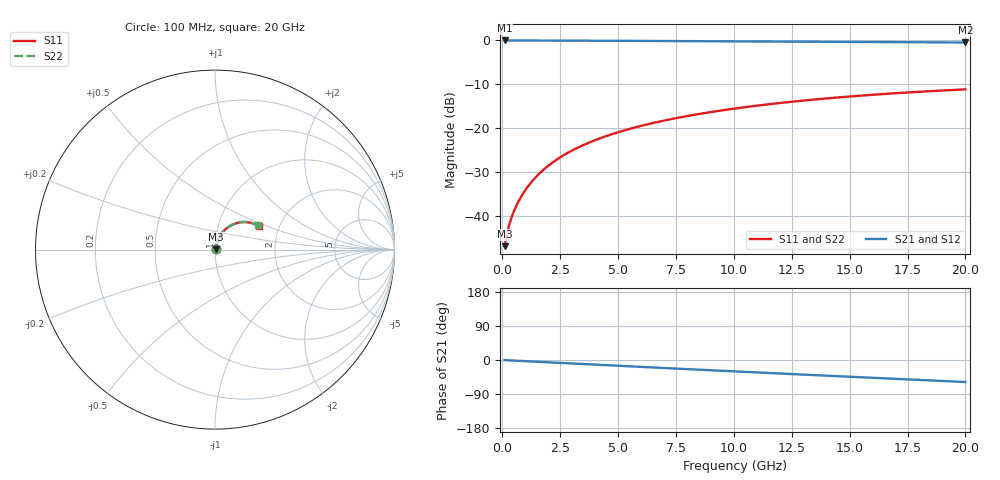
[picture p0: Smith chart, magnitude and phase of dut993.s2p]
! Touchstone file exported from HFSS 2026.1.0
!  File:  C:/ffzhzh/LocalFiles/Ansys_Project_Files/temp_train_BSMRDL_993_1783172968_18472.aedt
!  Generated:  09:50:47 PM Jul  4, 2026
!  Design:  BSMRDL
!  Project:  temp_train_BSMRDL_993_1783172968_18472
! Variables:
!  h_bsmrdl = 3.64um
!  h_ox = 20um
!  h_rdl = 5um
!  h_sub = 80um
!  h_tmrdl = 5um
!  h_tsv = 80um
!  h_via = 3um
!  l_bsmrdl = 987.52um
!  l_sub = 1387.52um
!  l_tmrdl = 200um
!  m_sub = 200um
!  pitch = 40.04um
!  r_tsv = 6um
!  s_tmrdl = 10um
!  w_bsmrdl = 27.04um
!  w_sub = 500um
!  w_tmrdl = 12um
!  x_tsv_center1 = 206um
!  x_tsv_center2 = 1220.56um
!  x_tsv_center3 = 1432.56um
!  x_tsv_center4 = 2447.12um
!  x_tsv_center5 = 2659.12um
!  x_tsv_center6 = 3673.68um
# GHz S MA R 50.000000
! Terminal data exported
! Port[1] = BSM_RDL1_1_T1
! Port[2] = BSM_RDL1_1_T2
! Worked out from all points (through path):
!   200 points, 100 MHz to 20 GHz, reference 50 ohm
!   highest |S21| = -0.03 dB at 100 MHz (marker M1); lowest = -0.5 dB at 20 GHz (marker M2)
!   group delay of S21, straight-line fit = 8.06 ps
!   lowest |S11| = -46.9 dB at 100 MHz (marker M3), VSWR 1.01, Z = 50.4 + j0.241 ohm
!   |S11| at or under -10 dB: start of sweep to end of sweep
!   |S22| runs from -46.9 to -11.2 dB; largest |S21 - S12| = 5.3e-15
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0.1  0.004543 31.7  0.9961 -0.3  0.9961 -0.3  0.004543 31.7
! Gamma 0 0 0 0
! Port Impedance 50 0 50 0
0.2  0.006233 46.6  0.9958 -0.7  0.9958 -0.7  0.006233 46.6
0.3  0.007969 53.8  0.9954 -1.0  0.9954 -1.0  0.007969 53.8
0.4  0.00965 58.4  0.9951 -1.3  0.9951 -1.3  0.009649 58.4
0.5  0.01131 61.8  0.9949 -1.6  0.9949 -1.6  0.01131 61.8
0.6  0.01298 64.4  0.9947 -1.9  0.9947 -1.9  0.01298 64.4
0.8  0.01637 68.2  0.9945 -2.5  0.9945 -2.5  0.01637 68.2
1  0.01984 70.7  0.9943 -3.1  0.9943 -3.1  0.01984 70.7
1.2  0.02336 72.2  0.9941 -3.7  0.9941 -3.7  0.02335 72.3
1.4  0.02691 73.3  0.9939 -4.3  0.9939 -4.3  0.0269 73.3
1.7  0.03227 74.1  0.9935 -5.2  0.9935 -5.2  0.03226 74.1
2.2  0.04122 74.4  0.9929 -6.8  0.9929 -6.8  0.04121 74.5
2.8  0.05191 73.9  0.9919 -8.6  0.9919 -8.6  0.0519 74.0
3.5  0.06424 72.7  0.9906 -10.7  0.9906 -10.7  0.06423 72.8
4.2  0.07635 71.1  0.9891 -12.8  0.9891 -12.8  0.07633 71.2
5  0.0899 69.1  0.9872 -15.2  0.9872 -15.2  0.08987 69.3
6.8  0.1191 64.3  0.9824 -20.6  0.9824 -20.6  0.1191 64.5
8.3  0.1421 60.2  0.9781 -25.0  0.9781 -25.0  0.1421 60.4
10.1  0.1681 55.2  0.9728 -30.2  0.9728 -30.2  0.168 55.5
13.4  0.211 46.2  0.9627 -39.7  0.9627 -39.7  0.2108 46.6
16.7  0.2472 37.3  0.953 -49.0  0.953 -49.0  0.247 37.8
20  0.2763 28.5  0.9443 -58.1  0.9443 -58.1  0.2761 29.1
